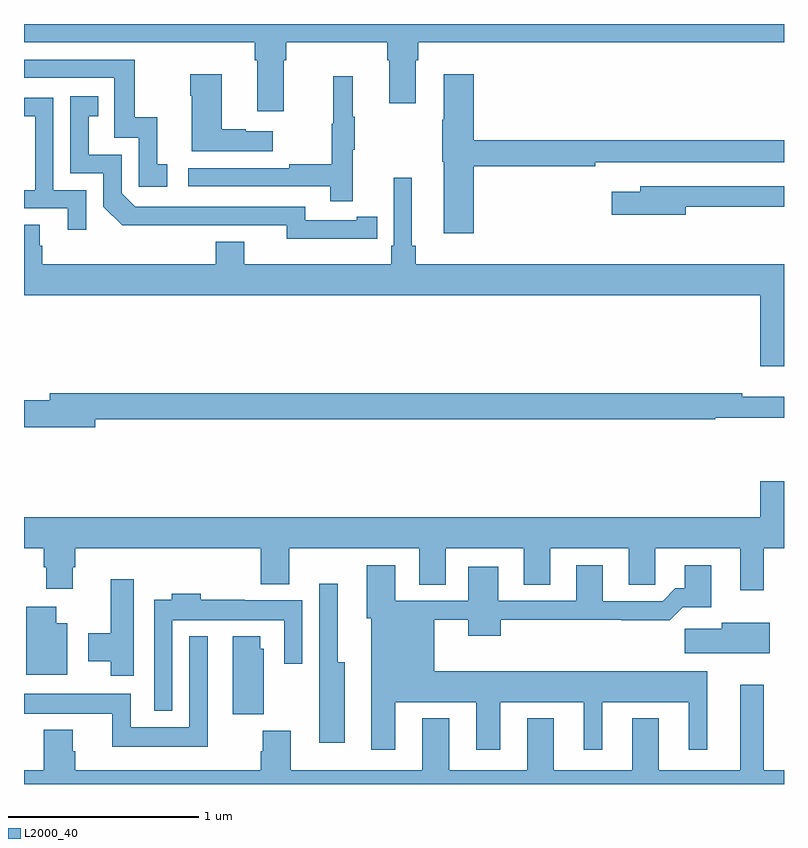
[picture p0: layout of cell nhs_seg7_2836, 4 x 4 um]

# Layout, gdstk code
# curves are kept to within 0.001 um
import gdstk
lib = gdstk.Library(unit=1e-6, precision=1e-09)
def P(c, l, *ps):  # polygons
    for p in ps: c.add(gdstk.Polygon(p, *l))
L2000_40 = (2000, 40)

nhs_seg7_2836 = lib.new_cell('nhs_seg7_2836')
P(nhs_seg7_2836, L2000_40, [(294.367,1045.808),(294.38,1045.808),(294.38,1045.904),(294.911,1045.904),(294.911,1045.808),(294.923,1045.808),(294.923,1045.584),(295.063,1045.584),(295.063,1045.808),(295.076,1045.808),(295.076,1045.904),(297,1045.904),(297,1046),(293,1046),(293,1045.904),(294.215,1045.904),(294.215,1045.808),(294.227,1045.808),(294.227,1045.542),(294.367,1045.542)],
  [(293.755,1045.263),(293.702,1045.263),(293.702,1045.51),(293.584,1045.51),(293.584,1045.812),(293,1045.812),(293,1045.716),(293.475,1045.716),(293.475,1045.401),(293.604,1045.401),(293.604,1045.143),(293.755,1045.143)],
  [(294.31,1045.435),(294.167,1045.435),(294.167,1045.445),(294.04,1045.445),(294.04,1045.735),(293.875,1045.735),(293.875,1045.622),(293.882,1045.622),(293.882,1045.331),(294.31,1045.331)],
  [(295.367,1045.252),(296.006,1045.252),(296.006,1045.272),(297,1045.272),(297,1045.388),(295.367,1045.388),(295.367,1045.735),(295.208,1045.735),(295.208,1045.496),(295.201,1045.496),(295.201,1045.275),(295.208,1045.275),(295.208,1044.9),(295.367,1044.9)],
  [(294.731,1045.339),(294.742,1045.339),(294.742,1045.513),(294.731,1045.513),(294.731,1045.726),(294.628,1045.726),(294.628,1045.476),(294.621,1045.476),(294.621,1045.262),(294.397,1045.262),(294.397,1045.242),(293.865,1045.242),(293.865,1045.146),(294.613,1045.146),(294.613,1045.068),(294.731,1045.068)],
  [(294.752,1044.87),(294.86,1044.87),(294.86,1044.986),(294.752,1044.986),(294.752,1044.966),(294.48,1044.966),(294.48,1045.038),(293.586,1045.038),(293.514,1045.11),(293.514,1045.311),(293.341,1045.311),(293.341,1045.515),(293.39,1045.515),(293.39,1045.621),(293.244,1045.621),(293.244,1045.215),(293.418,1045.215),(293.418,1045.038),(293.516,1044.941),(294.384,1044.942),(294.384,1044.869)],
  [(293.328,1045.125),(293.154,1045.125),(293.154,1045.611),(293,1045.611),(293,1045.514),(293.058,1045.514),(293.058,1045.125),(293,1045.125),(293,1045.029),(293.231,1045.029),(293.231,1044.918),(293.328,1044.918)],
  [(297,1044.736),(295.061,1044.736),(295.061,1044.832),(295.042,1044.832),(295.042,1045.192),(294.945,1045.192),(294.945,1044.832),(294.932,1044.832),(294.932,1044.736),(294.16,1044.736),(294.16,1044.853),(294.008,1044.853),(294.008,1044.736),(293.096,1044.736),(293.096,1044.834),(293.083,1044.834),(293.083,1044.944),(293,1044.944),(293,1044.572),(296.876,1044.572),(296.876,1044.198),(297,1044.198)],
  [(296.482,1045.038),(297,1045.038),(297,1045.146),(296.243,1045.146),(296.243,1045.117),(296.094,1045.117),(296.094,1044.995),(296.482,1044.995)],
  [(293.374,1043.92),(296.638,1043.92),(296.638,1043.928),(297,1043.928),(297,1044.037),(296.78,1044.037),(296.78,1044.056),(293.135,1044.056),(293.135,1044.02),(293,1044.02),(293,1043.878),(293.374,1043.878)],
  [(296.893,1043.24),(297,1043.24),(297,1043.593),(296.876,1043.593),(296.876,1043.404),(293,1043.404),(293,1043.24),(293.105,1043.24),(293.105,1043.142),(293.117,1043.142),(293.117,1043.028),(293.257,1043.028),(293.257,1043.142),(293.27,1043.142),(293.27,1043.24),(294.245,1043.24),(294.245,1043.051),(294.397,1043.051),(294.397,1043.24),(295.079,1043.24),(295.079,1043.05),(295.219,1043.05),(295.219,1043.24),(295.631,1043.24),(295.631,1043.05),(295.771,1043.05),(295.771,1043.24),(296.183,1043.24),(296.183,1043.05),(296.322,1043.05),(296.322,1043.24),(296.771,1043.24),(296.771,1043.019),(296.893,1043.019)],
  [(294.955,1042.43),(295.379,1042.43),(295.379,1042.179),(295.507,1042.179),(295.507,1042.43),(295.946,1042.43),(295.946,1042.179),(296.044,1042.179),(296.044,1042.43),(296.498,1042.43),(296.498,1042.179),(296.596,1042.179),(296.596,1042.594),(295.159,1042.594),(295.159,1042.864),(295.337,1042.864),(295.337,1042.781),(295.508,1042.781),(295.508,1042.864),(296.143,1042.864),(296.143,1042.862),(296.399,1042.862),(296.468,1042.931),(296.617,1042.931),(296.617,1043.152),(296.477,1043.152),(296.477,1043.029),(296.428,1043.029),(296.361,1042.962),(296.047,1042.962),(296.047,1043.152),(295.907,1043.152),(295.907,1042.965),(295.495,1042.965),(295.495,1043.143),(295.337,1043.143),(295.337,1042.965),(294.955,1042.965),(294.955,1043.152),(294.803,1043.152),(294.803,1042.872),(294.827,1042.872),(294.827,1042.179),(294.955,1042.179)],
  [(293.578,1043.077),(293.456,1043.077),(293.456,1042.794),(293.339,1042.794),(293.339,1042.646),(293.456,1042.646),(293.456,1042.569),(293.578,1042.569)],
  [(294.688,1042.642),(294.652,1042.642),(294.652,1043.053),(294.555,1043.053),(294.555,1042.538),(294.554,1042.538),(294.554,1042.218),(294.688,1042.218)],
  [(293.781,1042.862),(294.369,1042.862),(294.369,1042.632),(294.465,1042.632),(294.465,1042.966),(294.161,1042.966),(294.161,1042.969),(293.93,1042.969),(293.93,1043.002),(293.777,1043.002),(293.777,1042.969),(293.685,1042.969),(293.685,1042.385),(293.781,1042.385)],
  [(293.227,1042.846),(293.17,1042.846),(293.17,1042.933),(293.012,1042.933),(293.012,1042.574),(293.227,1042.574)],
  [(296.926,1042.849),(296.672,1042.849),(296.672,1042.817),(296.478,1042.817),(296.478,1042.688),(296.926,1042.688)],
  [(294.262,1042.713),(294.244,1042.713),(294.244,1042.777),(294.098,1042.777),(294.098,1042.366),(294.262,1042.366)],
  [(293.968,1042.777),(293.871,1042.777),(293.871,1042.3),(293.562,1042.3),(293.562,1042.474),(293,1042.474),(293,1042.37),(293.465,1042.37),(293.465,1042.196),(293.968,1042.196)],
  [(295.789,1042.345),(295.649,1042.345),(295.649,1042.072),(295.237,1042.072),(295.237,1042.345),(295.097,1042.345),(295.097,1042.072),(294.405,1042.072),(294.405,1042.281),(294.257,1042.281),(294.257,1042.172),(294.245,1042.172),(294.245,1042.072),(293.27,1042.072),(293.27,1042.173),(293.257,1042.173),(293.257,1042.285),(293.105,1042.285),(293.105,1042.072),(293,1042.072),(293,1042),(297,1042),(297,1042.072),(296.893,1042.072),(296.893,1042.522),(296.771,1042.522),(296.771,1042.072),(296.341,1042.072),(296.341,1042.345),(296.201,1042.345),(296.201,1042.072),(295.789,1042.072)])

lib.write_gds('nhs_seg7_2836.gds')
